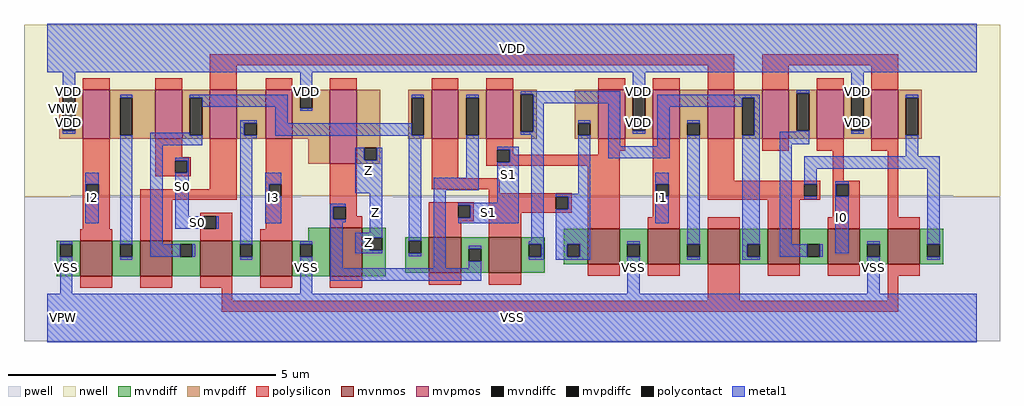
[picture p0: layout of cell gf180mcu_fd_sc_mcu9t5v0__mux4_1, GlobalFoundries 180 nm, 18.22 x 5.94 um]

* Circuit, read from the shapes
.subckt gf180mcu_fd_sc_mcu9t5v0__mux4_1 I0 I1 I2 I3 S0 S1 Z VDD VNW VPW VSS
XM1 n1 I2 VSS VPW nfet_06v0 w=0.66u l=0.6u
XM2 n2 n3 n1 VPW nfet_06v0 w=0.66u l=0.6u
XM3 n4 S0 n2 VPW nfet_06v0 w=0.66u l=0.6u
XM4 VSS I3 n4 VPW nfet_06v0 w=0.66u l=0.6u
XM5 Z n5 VSS VPW nfet_06v0 w=0.9u l=0.6u
XM6 n5 S1 n2 VPW nfet_06v0 w=0.66u l=0.6u
XM7 n6 n7 n5 VPW nfet_06v0 w=0.66u l=0.6u
XM8 VSS S1 n7 VPW nfet_06v0 w=0.66u l=0.6u
XM9 n8 I1 VSS VPW nfet_06v0 w=0.66u l=0.6u
XM10 n6 S0 n8 VPW nfet_06v0 w=0.66u l=0.6u
XM11 n9 n3 n6 VPW nfet_06v0 w=0.66u l=0.6u
XM12 VSS I0 n9 VPW nfet_06v0 w=0.66u l=0.6u
XM13 n3 S0 VSS VPW nfet_06v0 w=0.66u l=0.6u
XM14 n1 I2 VDD VNW pfet_06v0 w=0.915u l=0.5u
XM15 n2 S0 n1 VNW pfet_06v0 w=0.915u l=0.5u
XM16 n4 n3 n2 VNW pfet_06v0 w=0.915u l=0.5u
XM17 VDD I3 n4 VNW pfet_06v0 w=0.915u l=0.5u
XM18 Z n5 VDD VNW pfet_06v0 w=1.38u l=0.5u
XM19 n5 n7 n2 VNW pfet_06v0 w=0.915u l=0.5u
XM20 n6 S1 n5 VNW pfet_06v0 w=0.915u l=0.5u
XM21 VDD S1 n7 VNW pfet_06v0 w=0.915u l=0.5u
XM22 n8 I1 VDD VNW pfet_06v0 w=0.915u l=0.5u
XM23 n6 n3 n8 VNW pfet_06v0 w=0.915u l=0.5u
XM24 n9 S0 n6 VNW pfet_06v0 w=0.915u l=0.5u
XM25 VDD I0 n9 VNW pfet_06v0 w=0.915u l=0.5u
XM26 n3 S0 VDD VNW pfet_06v0 w=0.915u l=0.5u
.ends

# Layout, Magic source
magic
tech gf180mcuD
magscale 1 10
<< nwell >>
rect -86 456 3558 1094
rect -86 453 86 456
rect 3386 453 3558 456
<< pwell >>
rect 949 453 1291 456
rect -86 -86 3558 453
<< mvnmos >>
rect 124 156 244 288
rect 348 156 468 288
rect 572 156 692 288
rect 796 156 916 288
rect 1056 156 1176 336
rect 1426 169 1546 301
rect 1650 169 1770 301
rect 2018 201 2138 333
rect 2242 201 2362 333
rect 2466 201 2586 333
rect 2690 201 2810 333
rect 2914 201 3034 333
rect 3138 201 3258 333
<< mvpmos >>
rect 134 669 234 852
rect 404 669 504 852
rect 608 669 708 852
rect 816 669 916 852
rect 1056 576 1156 852
rect 1436 669 1536 852
rect 1640 669 1740 852
rect 2058 669 2158 852
rect 2262 669 2362 852
rect 2466 669 2566 852
rect 2670 669 2770 852
rect 2874 669 2974 852
rect 3078 669 3178 852
<< mvndiff >>
rect 976 288 1056 336
rect 36 275 124 288
rect 36 229 49 275
rect 95 229 124 275
rect 36 156 124 229
rect 244 275 348 288
rect 244 229 273 275
rect 319 229 348 275
rect 244 156 348 229
rect 468 275 572 288
rect 468 229 497 275
rect 543 229 572 275
rect 468 156 572 229
rect 692 275 796 288
rect 692 229 721 275
rect 767 229 796 275
rect 692 156 796 229
rect 916 275 1056 288
rect 916 229 945 275
rect 991 229 1056 275
rect 916 156 1056 229
rect 1176 299 1264 336
rect 1176 253 1205 299
rect 1251 253 1264 299
rect 1176 156 1264 253
rect 1338 288 1426 301
rect 1338 242 1351 288
rect 1397 242 1426 288
rect 1338 169 1426 242
rect 1546 258 1650 301
rect 1546 212 1575 258
rect 1621 212 1650 258
rect 1546 169 1650 212
rect 1770 275 1858 301
rect 1770 229 1799 275
rect 1845 229 1858 275
rect 1770 169 1858 229
rect 1930 275 2018 333
rect 1930 229 1943 275
rect 1989 229 2018 275
rect 1930 201 2018 229
rect 2138 275 2242 333
rect 2138 229 2167 275
rect 2213 229 2242 275
rect 2138 201 2242 229
rect 2362 275 2466 333
rect 2362 229 2391 275
rect 2437 229 2466 275
rect 2362 201 2466 229
rect 2586 275 2690 333
rect 2586 229 2615 275
rect 2661 229 2690 275
rect 2586 201 2690 229
rect 2810 275 2914 333
rect 2810 229 2839 275
rect 2885 229 2914 275
rect 2810 201 2914 229
rect 3034 275 3138 333
rect 3034 229 3063 275
rect 3109 229 3138 275
rect 3034 201 3138 229
rect 3258 275 3346 333
rect 3258 229 3287 275
rect 3333 229 3346 275
rect 3258 201 3346 229
<< mvpdiff >>
rect 46 839 134 852
rect 46 699 59 839
rect 105 699 134 839
rect 46 669 134 699
rect 234 823 404 852
rect 234 683 273 823
rect 319 683 404 823
rect 234 669 404 683
rect 504 823 608 852
rect 504 683 533 823
rect 579 683 608 823
rect 504 669 608 683
rect 708 728 816 852
rect 708 682 737 728
rect 783 682 816 728
rect 708 669 816 682
rect 916 830 1056 852
rect 916 784 945 830
rect 991 784 1056 830
rect 916 669 1056 784
rect 976 576 1056 669
rect 1156 635 1244 852
rect 1348 823 1436 852
rect 1348 683 1361 823
rect 1407 683 1436 823
rect 1348 669 1436 683
rect 1536 823 1640 852
rect 1536 683 1565 823
rect 1611 683 1640 823
rect 1536 669 1640 683
rect 1740 836 1828 852
rect 1740 696 1769 836
rect 1815 696 1828 836
rect 1740 669 1828 696
rect 1970 728 2058 852
rect 1970 682 1983 728
rect 2029 682 2058 728
rect 1970 669 2058 682
rect 2158 839 2262 852
rect 2158 699 2187 839
rect 2233 699 2262 839
rect 2158 669 2262 699
rect 2362 728 2466 852
rect 2362 682 2391 728
rect 2437 682 2466 728
rect 2362 669 2466 682
rect 2566 823 2670 852
rect 2566 683 2595 823
rect 2641 683 2670 823
rect 2566 669 2670 683
rect 2770 839 2874 852
rect 2770 699 2799 839
rect 2845 699 2874 839
rect 2770 669 2874 699
rect 2974 839 3078 852
rect 2974 699 3003 839
rect 3049 699 3078 839
rect 2974 669 3078 699
rect 3178 823 3266 852
rect 3178 683 3207 823
rect 3253 683 3266 823
rect 3178 669 3266 683
rect 1156 589 1185 635
rect 1231 589 1244 635
rect 1156 576 1244 589
<< mvndiffc >>
rect 49 229 95 275
rect 273 229 319 275
rect 497 229 543 275
rect 721 229 767 275
rect 945 229 991 275
rect 1205 253 1251 299
rect 1351 242 1397 288
rect 1575 212 1621 258
rect 1799 229 1845 275
rect 1943 229 1989 275
rect 2167 229 2213 275
rect 2391 229 2437 275
rect 2615 229 2661 275
rect 2839 229 2885 275
rect 3063 229 3109 275
rect 3287 229 3333 275
<< mvpdiffc >>
rect 59 699 105 839
rect 273 683 319 823
rect 533 683 579 823
rect 737 682 783 728
rect 945 784 991 830
rect 1361 683 1407 823
rect 1565 683 1611 823
rect 1769 696 1815 836
rect 1983 682 2029 728
rect 2187 699 2233 839
rect 2391 682 2437 728
rect 2595 683 2641 823
rect 2799 699 2845 839
rect 3003 699 3049 839
rect 3207 683 3253 823
rect 1185 589 1231 635
<< polysilicon >>
rect 608 944 2566 984
rect 134 852 234 896
rect 404 852 504 896
rect 608 852 708 944
rect 816 852 916 896
rect 1056 852 1156 896
rect 1436 852 1536 896
rect 1640 852 1740 896
rect 2058 852 2158 896
rect 2262 852 2362 896
rect 2466 852 2566 944
rect 2670 944 3178 984
rect 2670 852 2770 944
rect 2874 852 2974 896
rect 3078 852 3178 944
rect 134 500 234 669
rect 404 601 504 669
rect 404 588 537 601
rect 404 542 478 588
rect 524 542 537 588
rect 404 529 537 542
rect 134 454 147 500
rect 193 454 234 500
rect 608 481 708 669
rect 134 332 234 454
rect 348 441 708 481
rect 816 500 916 669
rect 816 454 829 500
rect 875 454 916 500
rect 124 288 244 332
rect 348 288 468 441
rect 572 380 692 393
rect 572 334 585 380
rect 631 334 692 380
rect 572 288 692 334
rect 816 332 916 454
rect 1056 415 1156 576
rect 1436 521 1536 669
rect 1640 628 1740 669
rect 1640 582 1681 628
rect 1727 609 1740 628
rect 2058 625 2158 669
rect 2058 609 2138 625
rect 1727 582 2138 609
rect 1640 569 2138 582
rect 1436 481 1690 521
rect 1650 465 1690 481
rect 1650 452 1959 465
rect 1056 369 1069 415
rect 1115 380 1156 415
rect 1426 420 1594 433
rect 1115 369 1176 380
rect 1056 336 1176 369
rect 1426 374 1535 420
rect 1581 374 1594 420
rect 1426 361 1594 374
rect 1650 406 1900 452
rect 1946 406 1959 452
rect 1650 393 1959 406
rect 796 288 916 332
rect 1426 301 1546 361
rect 1650 301 1770 393
rect 2018 333 2138 569
rect 2262 500 2362 669
rect 2262 454 2275 500
rect 2321 454 2362 500
rect 2262 377 2362 454
rect 2466 513 2566 669
rect 2670 625 2770 669
rect 2874 625 2974 669
rect 3078 625 3178 669
rect 2934 513 2974 625
rect 2466 500 2886 513
rect 2466 454 2827 500
rect 2873 454 2886 500
rect 2466 441 2886 454
rect 2934 500 3034 513
rect 2934 454 2947 500
rect 2993 454 3034 500
rect 2242 333 2362 377
rect 2466 333 2586 377
rect 2690 333 2810 441
rect 2934 377 3034 454
rect 2914 333 3034 377
rect 3138 377 3178 625
rect 3138 333 3258 377
rect 124 112 244 156
rect 348 112 468 156
rect 572 112 692 156
rect 796 112 916 156
rect 1056 112 1176 156
rect 1426 125 1546 169
rect 1650 125 1770 169
rect 2018 157 2138 201
rect 2242 157 2362 201
rect 652 64 692 112
rect 2466 64 2586 201
rect 2690 157 2810 201
rect 2914 157 3034 201
rect 3138 157 3258 201
rect 3138 64 3178 157
rect 652 24 3178 64
<< polycontact >>
rect 478 542 524 588
rect 147 454 193 500
rect 829 454 875 500
rect 585 334 631 380
rect 1681 582 1727 628
rect 1069 369 1115 415
rect 1535 374 1581 420
rect 1900 406 1946 452
rect 2275 454 2321 500
rect 2827 454 2873 500
rect 2947 454 2993 500
<< metal1 >>
rect 0 918 3472 1098
rect 59 839 105 918
rect 59 688 105 699
rect 273 823 319 834
rect 533 823 899 834
rect 142 500 194 542
rect 142 454 147 500
rect 193 454 194 500
rect 142 354 194 454
rect 49 275 95 286
rect 49 90 95 229
rect 273 275 319 683
rect 386 683 533 691
rect 579 788 899 823
rect 386 645 579 683
rect 721 728 783 739
rect 721 682 737 728
rect 721 671 783 682
rect 853 727 899 788
rect 945 830 991 918
rect 1769 836 2141 847
rect 945 773 991 784
rect 1361 823 1407 834
rect 853 683 1361 727
rect 853 681 1407 683
rect 1351 672 1407 681
rect 1565 823 1611 834
rect 1815 801 2141 836
rect 1815 696 1854 801
rect 1769 685 1854 696
rect 386 275 432 645
rect 478 588 530 599
rect 524 542 530 588
rect 478 380 530 542
rect 478 334 585 380
rect 631 334 642 380
rect 721 275 767 671
rect 1150 589 1185 635
rect 1231 589 1251 635
rect 814 500 875 542
rect 814 454 829 500
rect 1150 466 1251 589
rect 814 354 875 454
rect 1058 415 1115 426
rect 1058 369 1069 415
rect 1058 358 1115 369
rect 386 229 497 275
rect 543 229 554 275
rect 273 218 319 229
rect 721 218 767 229
rect 945 275 991 286
rect 945 90 991 229
rect 1058 185 1104 358
rect 1205 318 1251 466
rect 1150 299 1251 318
rect 1150 253 1205 299
rect 1150 242 1251 253
rect 1351 288 1397 672
rect 1565 523 1611 683
rect 1351 231 1397 242
rect 1443 477 1611 523
rect 1681 628 1762 639
rect 1727 582 1762 628
rect 1443 185 1489 477
rect 1681 431 1762 582
rect 1535 420 1762 431
rect 1581 374 1762 420
rect 1535 354 1762 374
rect 1808 286 1854 685
rect 1983 728 2029 739
rect 1983 463 2029 682
rect 2095 642 2141 801
rect 2187 839 2233 918
rect 2799 839 2845 850
rect 2187 688 2233 699
rect 2279 823 2661 834
rect 2279 788 2595 823
rect 2279 642 2325 788
rect 2095 596 2325 642
rect 2391 728 2437 739
rect 1799 275 1854 286
rect 1575 258 1621 269
rect 1845 229 1854 275
rect 1799 218 1854 229
rect 1900 452 2029 463
rect 1946 406 2029 452
rect 1900 275 2029 406
rect 2270 500 2322 542
rect 2270 454 2275 500
rect 2321 454 2322 500
rect 2270 354 2322 454
rect 1900 229 1943 275
rect 1989 229 2029 275
rect 1900 218 2029 229
rect 2167 275 2213 286
rect 1575 185 1621 212
rect 1058 139 1621 185
rect 2167 90 2213 229
rect 2391 275 2437 682
rect 2391 218 2437 229
rect 2641 683 2661 823
rect 2799 695 2845 699
rect 2595 275 2661 683
rect 2595 229 2615 275
rect 2735 649 2845 695
rect 3003 839 3049 918
rect 3003 688 3049 699
rect 3207 823 3253 834
rect 2735 275 2781 649
rect 3207 603 3253 683
rect 2827 557 3333 603
rect 2827 500 2873 557
rect 2827 443 2873 454
rect 2942 500 2994 511
rect 2942 454 2947 500
rect 2993 454 2994 500
rect 2735 229 2839 275
rect 2885 229 2896 275
rect 2942 242 2994 454
rect 3063 275 3109 286
rect 2595 218 2661 229
rect 3063 90 3109 229
rect 3287 275 3333 557
rect 3287 218 3333 229
rect 0 -90 3472 90
<< labels >>
flabel metal1 s 2942 242 2994 511 0 FreeSans 200 0 0 0 I0
port 1 nsew default input
flabel metal1 s 2270 354 2322 542 0 FreeSans 200 0 0 0 I1
port 2 nsew default input
flabel metal1 s 142 354 194 542 0 FreeSans 200 0 0 0 I2
port 3 nsew default input
flabel metal1 s 814 354 875 542 0 FreeSans 200 0 0 0 I3
port 4 nsew default input
flabel metal1 s 478 380 530 599 0 FreeSans 200 0 0 0 S0
port 5 nsew default input
flabel metal1 s 1681 431 1762 639 0 FreeSans 200 0 0 0 S1
port 6 nsew default input
flabel metal1 s 0 918 3472 1098 0 FreeSans 200 0 0 0 VDD
port 8 nsew power bidirectional abutment
flabel metal1 s 3063 90 3109 286 0 FreeSans 200 0 0 0 VSS
port 11 nsew ground bidirectional abutment
flabel metal1 s 1150 466 1251 635 0 FreeSans 200 0 0 0 Z
port 7 nsew default output
flabel nwell s 10 734 110 834 0 FreeSans 400 0 0 0 VNW
port 9 nsew power bidirectional
flabel pwell s 10 -50 110 50 0 FreeSans 400 0 0 0 VPW
port 10 nsew ground bidirectional
rlabel metal1 s 478 334 642 380 1 S0
port 5 nsew default input
rlabel metal1 s 1535 354 1762 431 1 S1
port 6 nsew default input
rlabel metal1 s 1205 318 1251 466 1 Z
port 7 nsew default output
rlabel metal1 s 1150 242 1251 318 1 Z
port 7 nsew default output
rlabel metal1 s 3003 773 3049 918 1 VDD
port 8 nsew power bidirectional abutment
rlabel metal1 s 2187 773 2233 918 1 VDD
port 8 nsew power bidirectional abutment
rlabel metal1 s 945 773 991 918 1 VDD
port 8 nsew power bidirectional abutment
rlabel metal1 s 59 773 105 918 1 VDD
port 8 nsew power bidirectional abutment
rlabel metal1 s 3003 688 3049 773 1 VDD
port 8 nsew power bidirectional abutment
rlabel metal1 s 2187 688 2233 773 1 VDD
port 8 nsew power bidirectional abutment
rlabel metal1 s 59 688 105 773 1 VDD
port 8 nsew power bidirectional abutment
rlabel metal1 s 2167 90 2213 286 1 VSS
port 11 nsew ground bidirectional abutment
rlabel metal1 s 945 90 991 286 1 VSS
port 11 nsew ground bidirectional abutment
rlabel metal1 s 49 90 95 286 1 VSS
port 11 nsew ground bidirectional abutment
rlabel metal1 s 0 -90 3472 90 1 VSS
port 11 nsew ground bidirectional abutment
<< properties >>
string FIXED_BBOX 0 0 3472 1008
string GDS_END 14512
string GDS_FILE $PDKPATH/libs.ref/gf180mcu_fd_sc_mcu9t5v0/gds/gf180mcu_fd_sc_mcu9t5v0.gds
string GDS_START 5844
string LEFclass core
string LEFsite GF018hv5v_green_sc9
string LEFsymmetry X Y
<< end >>
